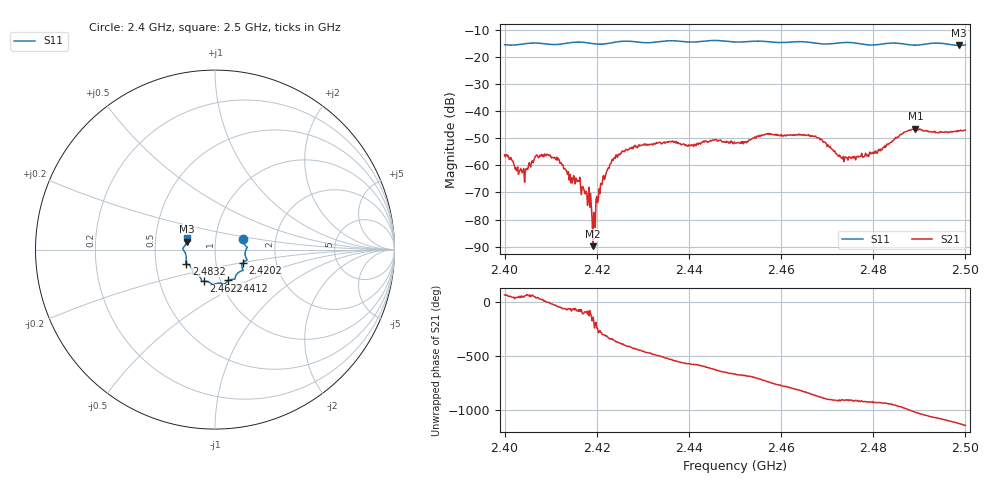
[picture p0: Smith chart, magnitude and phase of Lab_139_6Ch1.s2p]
# Hz S RI R 50
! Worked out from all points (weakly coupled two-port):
!   601 points, 2.4 GHz to 2.5 GHz, reference 50 ohm
!   highest |S21| = -46.49 dB at 2.4892 GHz (marker M1); lowest = -89.8 dB at 2.4192 GHz (marker M2)
!   lowest |S11| = -15.8 dB at 2.4987 GHz (marker M3), VSWR 1.39, Z = 36.4 + j3.36 ohm
!   |S11| at or under -10 dB: start of sweep to end of sweep
!   S12 and S22 are empty: the file has one direction only
!   S11 on the Smith chart (normalised r, x): 2.4 GHz: 1.36, +0.17; 2.4202 GHz: 1.35, -0.20; 2.4412 GHz: 1.09, -0.39; 2.4622 GHz: 0.83, -0.30; 2.4832 GHz: 0.72, -0.12; 2.5 GHz: 0.73, +0.09
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2.4e9  0.1564 0.0598  0.000624 0.00143  0 0  0 0
2.404167e9  0.1725 0.0193  0.000587 0.000645  0 0  0 0
2.406833e9  0.1794 0.0118  0.00119 0.00094  0 0  0 0
2.4095e9  0.171 -0.00343  0.00153 -0.000113  0 0  0 0
2.411833e9  0.1681 -0.0287  0.000902 -0.000879  0 0  0 0
2.416667e9  0.1773 -0.0581  9.95e-05 -0.000271  0 0  0 0
2.418167e9  0.17 -0.0613  2.56e-05 -0.00025  0 0  0 0
2.419167e9  0.1628 -0.0657  -2.46e-05 -2.11e-05  0 0  0 0
2.420167e9  0.1559 -0.0725  -9.49e-05 0.000181  0 0  0 0
2.421e9  0.1519 -0.0798  0.000105 0.000425  0 0  0 0
2.423833e9  0.1526 -0.1061  0.0014 2.25e-05  0 0  0 0
2.433333e9  0.113 -0.1523  -0.00194 -0.00173  0 0  0 0
2.441167e9  0.075 -0.172  -0.00182 0.00164  0 0  0 0
2.45e9  0.026 -0.1865  0.0017 0.00196  0 0  0 0
2.462167e9  -0.0632 -0.1767  0.000708 -0.00354  0 0  0 0
2.466667e9  -0.0767 -0.1663  -0.0026 -0.00227  0 0  0 0
2.4735e9  -0.123 -0.1367  -0.00143 0.000285  0 0  0 0
2.483167e9  -0.1597 -0.0782  -0.0017 0.00169  0 0  0 0
2.483333e9  -0.1604 -0.0777  -0.00167 0.00188  0 0  0 0
2.489167e9  -0.1614 -0.032  0.00276 0.00385  0 0  0 0
2.498667e9  -0.156 0.045  0.00267 -0.00335  0 0  0 0
2.5e9  -0.1536 0.0632  0.0017 -0.00415  0 0  0 0
